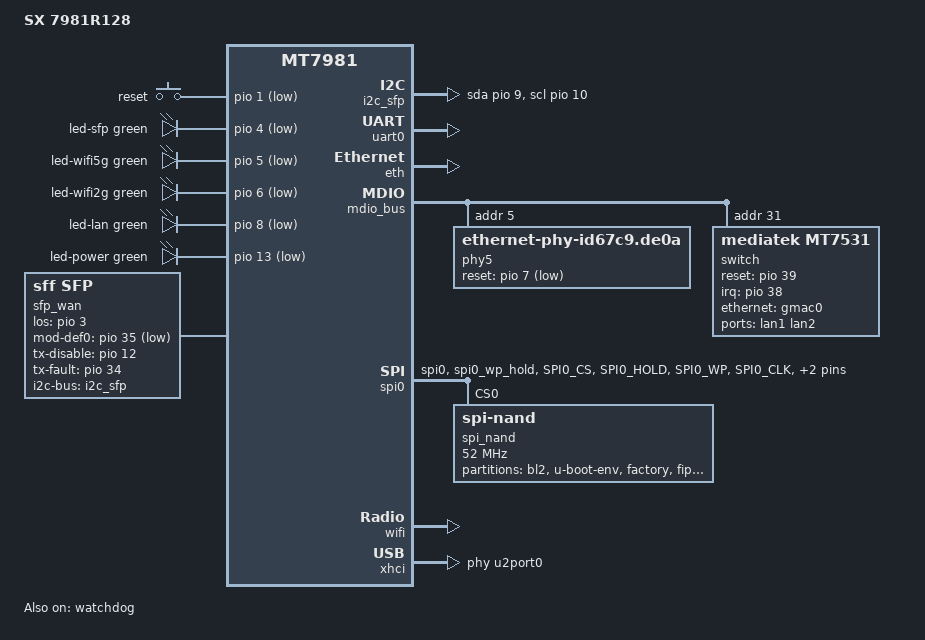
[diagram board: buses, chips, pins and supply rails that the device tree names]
// SPDX-License-Identifier: GPL-2.0-or-later OR MIT
/*
 * Ported from hanwckf/immortalwrt-mt798x openwrt-21.02 to kernel 6.18 DSA.
 * Original: mt7981-spim-nand-7981r128.dts
 *
 * Changes vs original:
 *  - Include mt7981b.dtsi (replaces mt7981.dtsi from old fork)
 *  - Remove explicit memory/bootargs nodes (U-Boot passes via ATAG/DT)
 *  - LEDs: updated to use dt-bindings/leds/common.h macros
 *  - Switch: moved from inline mdio-bus inside &eth to &mdio_bus (DSA style)
 *  - NMBM: replaced nmbm_spim_nand wrapper with inline mediatek,nmbm properties
 *  - Added nvmem-layout in factory partition for WiFi EEPROM
 *  - Fixed spi-tx-bus-width / spi-rx-bus-width property names
 *  - Added spi-cal-* properties for NAND timing calibration
 *  - Removed &hnat (handled by kmod-mtk-hnat, no DT node needed in 6.18)
 *  - Removed &afe PCM audio (not needed for router function)
 *
 * TODO (requires hardware verification):
 *  - Confirm mt7981b.dtsi is correct variant (vs mt7981a.dtsi)
 *  - Verify MAC address offset in factory partition (currently 0x4)
 *  - Verify gmac1 SFP phy-mode: "2500base-x" locks to 2.5G only;
 *    change to "sgmii" if standard 1G SFP modules are also needed
 */

/dts-v1/;

#include <dt-bindings/leds/common.h>
#include "mt7981b.dtsi"

/ {
	model = "SX 7981R128";
	compatible = "sx,7981r128", "mediatek,mt7981";

	aliases {
		label-mac-device = &gmac0;
		serial0 = &uart0;
	};

	chosen {
		stdout-path = "serial0:115200n8";
	};

	gpio-keys {
		compatible = "gpio-keys";

		button-reset {
			label = "reset";
			linux,code = <KEY_RESTART>;
			gpios = <&pio 1 GPIO_ACTIVE_LOW>;
		};
	};

	gpio-leds {
		compatible = "gpio-leds";

		led-sfp {
			color = <LED_COLOR_ID_GREEN>;
			function = LED_FUNCTION_WAN;
			gpios = <&pio 4 GPIO_ACTIVE_LOW>;
		};

		led-wifi5g {
			color = <LED_COLOR_ID_GREEN>;
			function = LED_FUNCTION_WLAN_5GHZ;
			gpios = <&pio 5 GPIO_ACTIVE_LOW>;
			linux,default-trigger = "phy1tpt";
		};

		led-wifi2g {
			color = <LED_COLOR_ID_GREEN>;
			function = LED_FUNCTION_WLAN_2GHZ;
			gpios = <&pio 6 GPIO_ACTIVE_LOW>;
			linux,default-trigger = "phy0tpt";
		};

		led-lan {
			color = <LED_COLOR_ID_GREEN>;
			function = LED_FUNCTION_LAN;
			gpios = <&pio 8 GPIO_ACTIVE_LOW>;
		};

		led-power {
			color = <LED_COLOR_ID_GREEN>;
			function = LED_FUNCTION_POWER;
			gpios = <&pio 13 GPIO_ACTIVE_LOW>;
			default-state = "on";
		};
	};

	/* I2C bit-bang bus for SFP module EEPROM (A0/A2 EEPROM) */
	i2c_sfp: i2c-gpio {
		compatible = "i2c-gpio";
		sda-gpios = <&pio 9 (GPIO_ACTIVE_HIGH | GPIO_OPEN_DRAIN)>;
		scl-gpios = <&pio 10 (GPIO_ACTIVE_HIGH | GPIO_OPEN_DRAIN)>;
		i2c-gpio,delay-us = <2>;
		#address-cells = <1>;
		#size-cells = <0>;
	};

	sfp_wan: sfp {
		compatible = "sff,sfp";
		i2c-bus = <&i2c_sfp>;
		los-gpios = <&pio 3 GPIO_ACTIVE_HIGH>;
		mod-def0-gpios = <&pio 35 GPIO_ACTIVE_LOW>;
		tx-disable-gpios = <&pio 12 GPIO_ACTIVE_HIGH>;
		tx-fault-gpios = <&pio 34 GPIO_ACTIVE_HIGH>;
		maximum-power-milliwatt = <3000>;
	};
};

&uart0 {
	status = "okay";
};

&watchdog {
	status = "okay";
};

&eth {
	pinctrl-names = "default";
	pinctrl-0 = <&mdio_pins>;
	status = "okay";

	gmac0: mac@0 {
		compatible = "mediatek,eth-mac";
		reg = <0>;
		phy-mode = "2500base-x";

		nvmem-cell-names = "mac-address";
		nvmem-cells = <&macaddr_factory 0>;

		fixed-link {
			speed = <2500>;
			full-duplex;
			pause;
		};
	};

	gmac1: mac@1 {
		compatible = "mediatek,eth-mac";
		reg = <1>;
		/* 2500base-x: only 2.5G SFP+ modules will work.
		 * Change to "sgmii" for compatibility with standard 1G SFP. */
		phy-mode = "2500base-x";
		managed = "in-band-status";
		sfp = <&sfp_wan>;

		nvmem-cell-names = "mac-address";
		nvmem-cells = <&macaddr_factory 1>;
	};
};

&mdio_bus {
	/* Airoha EN8801S 2.5G PHY on switch port 5 */
	phy5: phy@5 {
		compatible = "ethernet-phy-id67c9.de0a";
		reg = <5>;
		reset-gpios = <&pio 7 GPIO_ACTIVE_LOW>;
		reset-assert-us = <600>;
		reset-deassert-us = <20000>;
		phy-mode = "2500base-x";
	};

	switch: switch@1f {
		compatible = "mediatek,mt7531";
		reg = <31>;
		reset-gpios = <&pio 39 GPIO_ACTIVE_HIGH>;
		interrupt-controller;
		#interrupt-cells = <1>;
		interrupt-parent = <&pio>;
		interrupts = <38 IRQ_TYPE_LEVEL_HIGH>;

		ports {
			#address-cells = <1>;
			#size-cells = <0>;

			port@1 {
				reg = <1>;
				label = "lan1";
			};

			/* 2.5G LAN port via external Airoha EN8801S PHY */
			port@5 {
				reg = <5>;
				label = "lan2";
				phy-mode = "2500base-x";
				phy-handle = <&phy5>;
			};

			port@6 {
				reg = <6>;
				ethernet = <&gmac0>;
				phy-mode = "2500base-x";

				fixed-link {
					speed = <2500>;
					full-duplex;
					pause;
				};
			};
		};
	};
};

&pio {
	spi0_flash_pins: spi0-pins {
		mux {
			function = "spi";
			groups = "spi0", "spi0_wp_hold";
		};

		conf-pu {
			pins = "SPI0_CS", "SPI0_HOLD", "SPI0_WP";
			drive-strength = <MTK_DRIVE_8mA>;
			bias-pull-up = <MTK_PUPD_SET_R1R0_11>;
		};

		conf-pd {
			pins = "SPI0_CLK", "SPI0_MOSI", "SPI0_MISO";
			drive-strength = <MTK_DRIVE_8mA>;
			bias-pull-down = <MTK_PUPD_SET_R1R0_11>;
		};
	};
};

&spi0 {
	pinctrl-names = "default";
	pinctrl-0 = <&spi0_flash_pins>;
	status = "okay";

	spi_nand: flash@0 {
		compatible = "spi-nand";
		reg = <0>;
		spi-max-frequency = <52000000>;
		spi-tx-bus-width = <4>;
		spi-rx-bus-width = <4>;

		/* SPI timing calibration ("SPINAND" pattern) */
		spi-cal-enable;
		spi-cal-mode = "read-data";
		spi-cal-datalen = <7>;
		spi-cal-data = /bits/ 8 <0x53 0x50 0x49 0x4e 0x41 0x4e 0x44>;
		spi-cal-addrlen = <5>;
		spi-cal-addr = /bits/ 32 <0x0 0x0 0x0 0x0 0x0>;

		/* NMBM (NAND Management Block Manager) for bad-block handling */
		mediatek,nmbm;
		mediatek,bmt-max-ratio = <1>;
		mediatek,bmt-max-reserved-blocks = <64>;

		partitions {
			compatible = "fixed-partitions";
			#address-cells = <1>;
			#size-cells = <1>;

			partition@0 {
				label = "bl2";
				reg = <0x0 0x100000>;
				read-only;
			};

			partition@100000 {
				label = "u-boot-env";
				reg = <0x100000 0x80000>;
			};

			partition@180000 {
				label = "factory";
				reg = <0x180000 0x200000>;
				read-only;

				nvmem-layout {
					compatible = "fixed-layout";
					#address-cells = <1>;
					#size-cells = <1>;

					/* WiFi calibration EEPROM for mt7976/mt7981 (4KB) */
					eeprom_factory: eeprom@0 {
						reg = <0x0 0x1000>;
					};

					/* MAC address base for all interfaces.
					 * TODO: verify offset 0x4 against actual factory
					 * partition dump from the hardware. Common MTK SDK
					 * locations are 0x4, 0x2A, or 0xE000. */
					macaddr_factory: macaddr@4 {
						compatible = "mac-base";
						reg = <0x4 0x6>;
						#nvmem-cell-cells = <1>;
					};
				};
			};

			partition@380000 {
				label = "fip";
				reg = <0x380000 0x200000>;
				read-only;
			};

			partition@580000 {
				label = "ubi";
				reg = <0x580000 0x7200000>;
			};
		};
	};
};

&wifi {
	nvmem-cell-names = "eeprom";
	nvmem-cells = <&eeprom_factory>;
	status = "okay";
};

&xhci {
	phys = <&u2port0 PHY_TYPE_USB2>,
	       <&u3port0 PHY_TYPE_USB3>;
	status = "okay";
};
